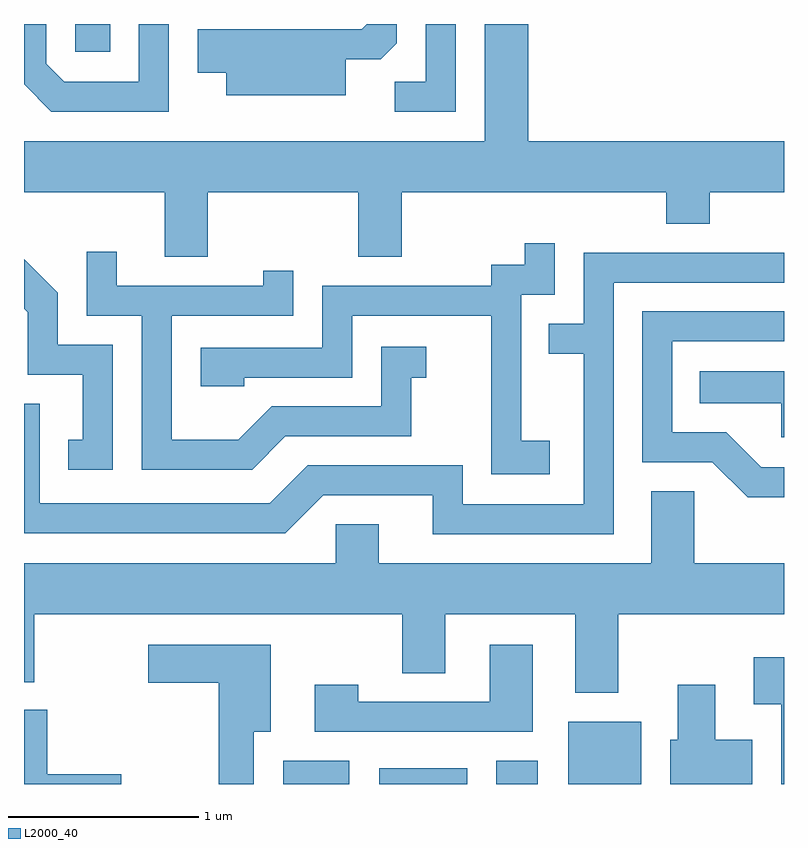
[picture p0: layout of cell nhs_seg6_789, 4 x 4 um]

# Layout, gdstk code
import gdstk
lib = gdstk.Library(unit=1e-6, precision=1e-09)
def R(c, l, rs):  # rectangles x0, y0, x1, y1
    for r in rs: c.add(gdstk.rectangle(r[:2], r[2:], *l))
def P(c, l, *ps):  # polygons
    for p in ps: c.add(gdstk.Polygon(p, *l))
L2000_40 = (2000, 40)

nhs_seg6_789 = lib.new_cell('nhs_seg6_789')
R(nhs_seg6_789, L2000_40, [(208.976,1640.162,209.324,1640.284), (209.481,1640.162,209.944,1640.244), (210.096,1640.162,210.314,1640.284), (210.476,1640.162,210.859,1640.489), (207.881,1644.016,208.064,1644.162)])
P(nhs_seg6_789, L2000_40, [(208.374,1644.162),(208.216,1644.162),(208.216,1643.859),(207.822,1643.859),(207.729,1643.952),(207.729,1644.162),(207.611,1644.162),(207.611,1643.844),(207.754,1643.701),(208.374,1643.701)],
  [(208.579,1643.276),(209.371,1643.276),(209.371,1642.936),(209.599,1642.936),(209.599,1643.276),(210.991,1643.276),(210.991,1643.111),(211.219,1643.111),(211.219,1643.276),(211.611,1643.276),(211.611,1643.544),(210.264,1643.544),(210.264,1644.162),(210.036,1644.162),(210.036,1643.544),(207.611,1643.544),(207.611,1643.276),(208.351,1643.276),(208.351,1642.936),(208.579,1642.936)],
  [(209.884,1644.162),(209.726,1644.162),(209.726,1643.859),(209.563,1643.859),(209.563,1643.701),(209.884,1643.701)],
  [(209.304,1643.976),(209.489,1643.976),(209.574,1644.062),(209.574,1644.162),(209.416,1644.162),(209.389,1644.134),(208.526,1644.134),(208.526,1643.906),(208.676,1643.906),(208.676,1643.786),(209.304,1643.786)],
  [(210.379,1641.969),(210.229,1641.969),(210.229,1642.736),(210.404,1642.736),(210.404,1643.008),(210.246,1643.008),(210.246,1642.894),(210.071,1642.894),(210.071,1642.784),(209.181,1642.784),(209.181,1642.459),(208.541,1642.459),(208.541,1642.256),(208.769,1642.256),(208.769,1642.301),(209.339,1642.301),(209.339,1642.626),(210.071,1642.626),(210.071,1641.791),(210.379,1641.791)],
  [(208.987,1641.991),(209.649,1641.991),(209.649,1642.301),(209.728,1642.301),(209.728,1642.464),(209.491,1642.464),(209.491,1642.149),(208.914,1642.149),(208.739,1641.974),(208.389,1641.974),(208.389,1642.626),(209.029,1642.626),(209.029,1642.863),(208.871,1642.863),(208.871,1642.784),(208.099,1642.784),(208.099,1642.963),(207.941,1642.963),(207.941,1642.626),(208.231,1642.626),(208.231,1641.816),(208.812,1641.816)],
  [(210.714,1642.801),(211.611,1642.801),(211.611,1642.959),(210.556,1642.959),(210.556,1642.584),(210.373,1642.584),(210.373,1642.426),(210.556,1642.426),(210.556,1641.634),(209.919,1641.634),(209.919,1641.839),(209.104,1641.839),(208.904,1641.639),(207.694,1641.639),(207.694,1642.164),(207.611,1642.164),(207.611,1641.481),(208.987,1641.481),(209.187,1641.681),(209.761,1641.681),(209.761,1641.476),(210.714,1641.476)],
  [(208.079,1642.474),(207.789,1642.474),(207.789,1642.747),(207.611,1642.925),(207.611,1642.664),(207.631,1642.644),(207.631,1642.316),(207.921,1642.316),(207.921,1641.974),(207.843,1641.974),(207.843,1641.816),(208.079,1641.816)],
  [(211.611,1641.829),(211.492,1641.829),(211.307,1642.014),(211.024,1642.014),(211.024,1642.491),(211.611,1642.491),(211.611,1642.649),(210.866,1642.649),(210.866,1641.856),(211.234,1641.856),(211.419,1641.671),(211.611,1641.671)],
  [(211.611,1642.334),(211.168,1642.334),(211.168,1642.166),(211.596,1642.166),(211.596,1641.986),(211.611,1641.986)],
  [(210.739,1641.056),(211.611,1641.056),(211.611,1641.324),(211.139,1641.324),(211.139,1641.704),(210.911,1641.704),(210.911,1641.324),(209.479,1641.324),(209.479,1641.529),(209.251,1641.529),(209.251,1641.324),(207.611,1641.324),(207.611,1640.698),(207.664,1640.698),(207.664,1641.056),(209.601,1641.056),(209.601,1640.746),(209.829,1640.746),(209.829,1641.056),(210.511,1641.056),(210.511,1640.641),(210.739,1640.641)],
  [(208.819,1640.436),(208.909,1640.436),(208.909,1640.894),(208.266,1640.894),(208.266,1640.696),(208.636,1640.696),(208.636,1640.162),(208.819,1640.162)],
  [(210.289,1640.894),(210.061,1640.894),(210.061,1640.594),(209.369,1640.594),(209.369,1640.684),(209.141,1640.684),(209.141,1640.436),(210.289,1640.436)],
  [(211.611,1640.829),(211.451,1640.829),(211.451,1640.581),(211.596,1640.581),(211.596,1640.162),(211.611,1640.162)],
  [(211.444,1640.394),(211.249,1640.394),(211.249,1640.684),(211.051,1640.684),(211.051,1640.394),(211.011,1640.394),(211.011,1640.162),(211.444,1640.162)],
  [(208.124,1640.214),(207.734,1640.214),(207.734,1640.554),(207.611,1640.554),(207.611,1640.162),(208.124,1640.162)])

lib.write_gds('nhs_seg6_789.gds')
